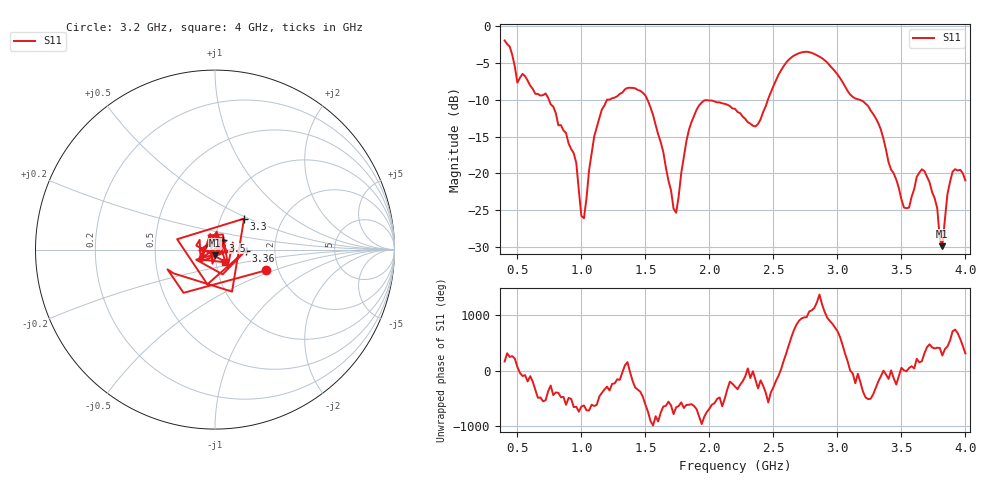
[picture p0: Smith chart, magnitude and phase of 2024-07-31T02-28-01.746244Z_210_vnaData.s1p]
!Created with skrf (http://scikit-rf.org).
# Hz S RI R 50.0
!freq ReS11 ImS11
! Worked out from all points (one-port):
!   181 points, 400 MHz to 4 GHz, reference 50 ohm
!   lowest |S11| = -29.9 dB at 3.82 GHz (marker M1), VSWR 1.07, Z = 50 - j3.22 ohm
!   |S11| at or under -10 dB: 745.9 MHz to 1.2 GHz (453.8 MHz wide, 46.6 % of centre); 1.516 GHz to 2.457 GHz (941.6 MHz wide, 47.4 % of centre); 3.172 GHz to end of sweep
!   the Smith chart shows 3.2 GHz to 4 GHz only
!   S11 on the Smith chart (normalised r, x): 3.2 GHz: 1.73, -0.44; 3.3 GHz: 1.29, +0.47; 3.36 GHz: 1.41, -0.02; 3.5 GHz: 1.08, +0.11; 4 GHz: 1.11, -0.15
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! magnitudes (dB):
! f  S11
! 400 MHz  -2.0
! 500 MHz  -7.7
! 720 MHz  -9.2
! 860 MHz  -14.2
! 960 MHz  -18.6
! 1.02 GHz  -26.1
! 1.14 GHz  -12.5
! 1.3 GHz  -9.2
! 1.5 GHz  -9.4
! 1.72 GHz  -24.8
! 1.76 GHz  -23.1
! 1.84 GHz  -14.1
! 1.92 GHz  -10.8
! 2.2 GHz  -11.2
! 2.36 GHz  -13.6
! 2.66 GHz  -4.0
! 2.88 GHz  -4.4
! 3.1 GHz  -9.3
! 3.2 GHz  -10.2
! 3.3 GHz  -12.5
! 3.36 GHz  -15.3
! 3.5 GHz  -23.5
! 3.56 GHz  -24.6
! 3.68 GHz  -19.7
! 3.78 GHz  -24.7
! 3.82 GHz  -29.9
! 3.9 GHz  -19.8
! 4 GHz  -20.9
